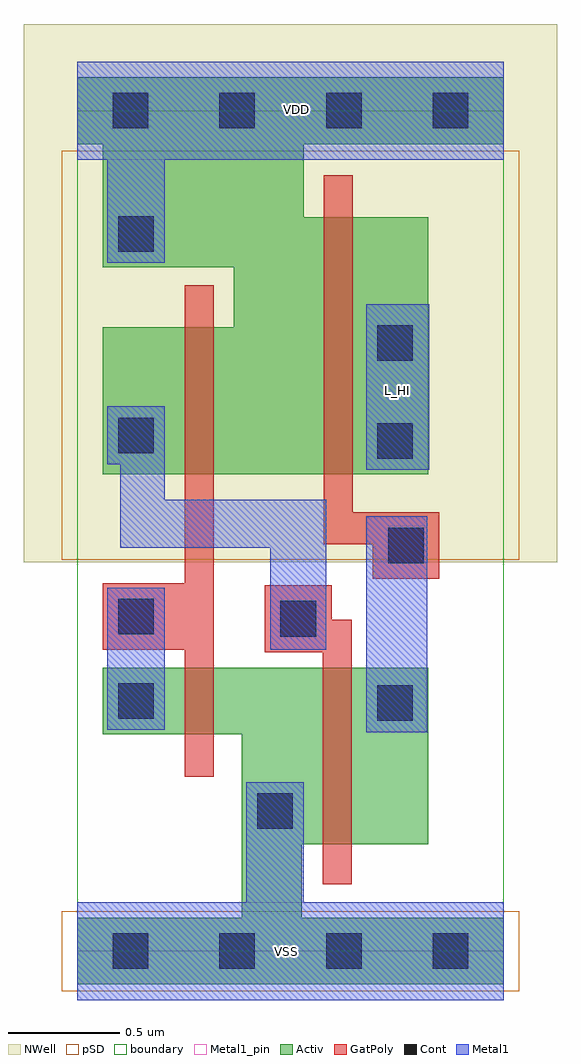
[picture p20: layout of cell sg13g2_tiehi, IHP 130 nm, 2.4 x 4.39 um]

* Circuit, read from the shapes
.subckt sg13g2_tiehi L_HI VDD VSS
XM1 VSS n1 n1 VSS sg13_lv_nmos w=0.3u l=0.13u
XM2 n2 n3 VSS VSS sg13_lv_nmos w=0.795u l=0.13u
XM3 VDD n1 n3 VDD sg13_lv_pmos w=0.66u l=0.13u
XM4 L_HI n2 VDD VDD sg13_lv_pmos w=1.155u l=0.13u
.ends

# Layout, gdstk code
import gdstk
lib = gdstk.Library(unit=1e-6, precision=1e-09)
def R(c, l, rs):  # rectangles x0, y0, x1, y1
    for r in rs: c.add(gdstk.rectangle(r[:2], r[2:], *l))
def A(c, l, x, y, w, h, nx, ny, dx, dy):  # array of equal rectangles
    R(c, l, [(x+i*dx, y+j*dy, x+i*dx+w, y+j*dy+h) for i in range(nx) for j in range(ny)])
def P(c, l, *ps):  # polygons
    for p in ps: c.add(gdstk.Polygon(p, *l))
Activ = (1, 0)
GatPoly = (5, 0)
Cont = (6, 0)
Metal1 = (8, 0)
Metal1_pin = (8, 2)
pSD = (14, 0)
NWell = (31, 0)
boundary = (189, 4)

sg13g2_tiehi = lib.new_cell('sg13g2_tiehi')
P(sg13g2_tiehi, Activ, [(0.115,2.145),(0.115,2.805),(0.705,2.805),(0.705,3.075),(0.115,3.075),(0.115,3.63),(0,3.63),(0,3.93),(1.92,3.93),(1.92,3.63),(1.02,3.63),(1.02,3.3),(1.58,3.3),(1.58,2.145)],
  [(0,-0.15),(0,0.15),(0.74,0.15),(0.74,0.975),(0.115,0.975),(0.115,1.275),(1.58,1.275),(1.58,0.48),(1.01,0.48),(1.01,0.15),(1.92,0.15),(1.92,-0.15)])
P(sg13g2_tiehi, GatPoly, [(1.33,1.675),(1.33,1.83),(1.11,1.83),(1.11,3.49),(1.24,3.49),(1.24,1.975),(1.63,1.975),(1.63,1.675)],
  [(0.485,0.785),(0.485,1.355),(0.115,1.355),(0.115,1.655),(0.485,1.655),(0.485,2.995),(0.615,2.995),(0.615,0.785)],
  [(1.105,0.3),(1.105,1.345),(0.845,1.345),(0.845,1.645),(1.145,1.645),(1.145,1.49),(1.235,1.49),(1.235,0.3)])
A(sg13g2_tiehi, Cont, 0.16, -0.08, 0.16, 0.16, 4, 2, 0.48, 3.78)
R(sg13g2_tiehi, Cont, [(0.81,0.55,0.97,0.71), (1.35,1.035,1.51,1.195), (0.185,1.045,0.345,1.205), (0.915,1.415,1.075,1.575), (0.185,1.425,0.345,1.585), (1.4,1.745,1.56,1.905), (1.35,2.215,1.51,2.375), (0.185,2.24,0.345,2.4), (1.35,2.655,1.51,2.815), (0.185,3.145,0.345,3.305)])
R(sg13g2_tiehi, Metal1, [(1.3,0.985,1.575,1.955), (0.135,0.995,0.395,1.635), (1.3,2.165,1.585,2.91)])
P(sg13g2_tiehi, Metal1, [(0.87,1.355),(0.87,1.815),(0.195,1.815),(0.195,2.19),(0.135,2.19),(0.135,2.45),(0.395,2.45),(0.395,2.03),(1.12,2.03),(1.12,1.355)],
  [(0,-0.22),(0,0.22),(0.76,0.22),(0.76,0.76),(1.02,0.76),(1.02,0.22),(1.92,0.22),(1.92,-0.22)],
  [(0.135,3.095),(0.135,3.56),(0,3.56),(0,4),(1.92,4),(1.92,3.56),(0.395,3.56),(0.395,3.095)])
R(sg13g2_tiehi, Metal1_pin, [(0,-0.22,1.92,0.22), (1.3,2.165,1.585,2.91), (0,3.56,1.92,4)])
R(sg13g2_tiehi, pSD, [(-0.07,-0.18,1.99,0.18), (-0.07,1.76,1.99,3.6)])
R(sg13g2_tiehi, NWell, [(-0.24,1.75,2.16,4.17)])
R(sg13g2_tiehi, boundary, [(0,0,1.92,3.78)])
sg13g2_tiehi.add(gdstk.Label('L_HI', (1.443,2.52), layer=8, texttype=25))
sg13g2_tiehi.add(gdstk.Label('VDD', (0.985,3.785), layer=8, texttype=25))
sg13g2_tiehi.add(gdstk.Label('VSS', (0.94,0), layer=8, texttype=25))

lib.write_gds('sg13g2_tiehi.gds')
